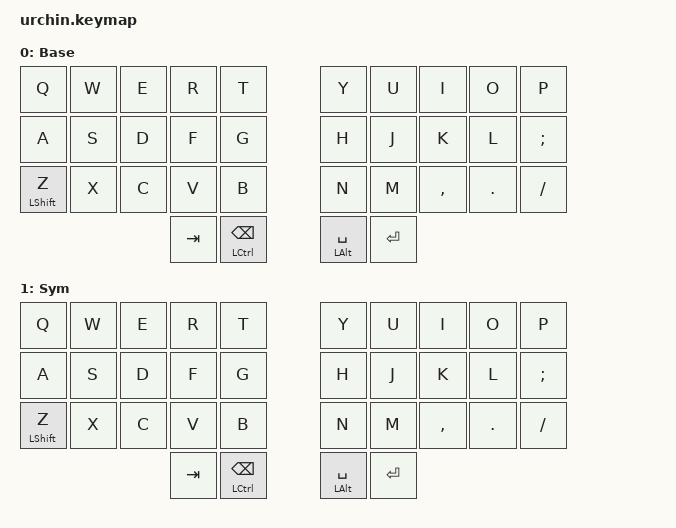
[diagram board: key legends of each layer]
/*
 * Simplified keymap with two layers: Base and Sym
 */

#include <behaviors.dtsi>
#include <dt-bindings/zmk/keys.h>
#include <dt-bindings/zmk/bt.h>
#include <dt-bindings/zmk/outputs.h>

// Layer definitions
#define BASE 0
#define SYM 1

&mt {
    flavor = "balanced";
    tapping-term-ms = <280>;
    quick-tap-ms = <175>;
    require-prior-idle-ms = <150>;
    hold-trigger-on-release;
};

/ {
        keymap {
                compatible = "zmk,keymap";

                // Base alpha layer
                base_layer {
                        label = "Base";
                        bindings = <
                        &kp Q        &kp W &kp E &kp R  &kp T   &kp Y &kp U &kp I     &kp O &kp P
                        &kp A        &kp S &kp D &kp F  &kp G   &kp H &kp J &kp K     &kp L &kp SEMI
                        &mt LSHIFT Z &kp X &kp C &kp V  &kp B   &kp N &kp M &kp COMMA &kp DOT &kp SLASH
                        &kp TAB      &mt LCTRL BSPC             &mt LALT SPACE &kp ENTER
                        >;
                };
                // Sym layer with numpad
                sym_layer {
                        label = "Sym";
                        bindings = <
                        &kp Q        &kp W &kp E &kp R  &kp T   &kp Y &kp U &kp I     &kp O &kp P
                        &kp A        &kp S &kp D &kp F  &kp G   &kp H &kp J &kp K     &kp L &kp SEMI
                        &mt LSHIFT Z &kp X &kp C &kp V  &kp B   &kp N &kp M &kp COMMA &kp DOT &kp SLASH
                        &kp TAB      &mt LCTRL BSPC             &mt LALT SPACE &kp ENTER
                        >;
                };
        };
};
